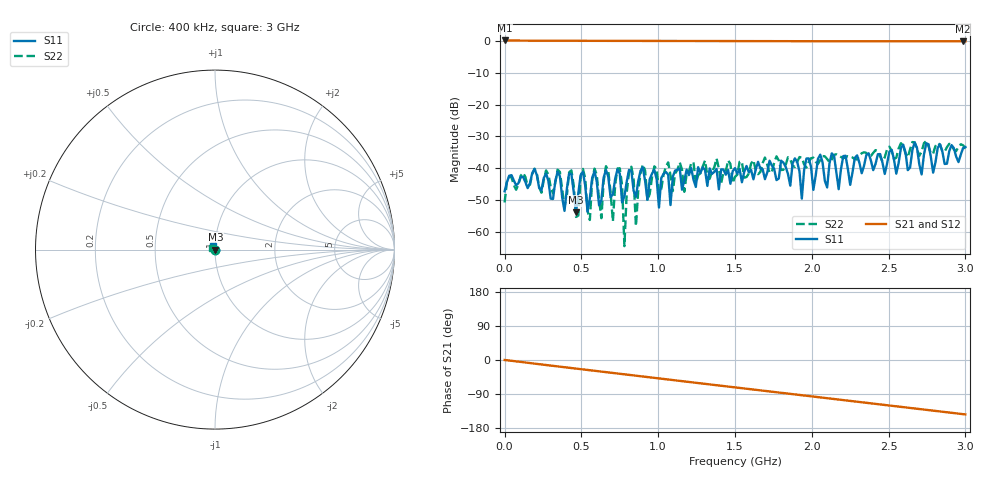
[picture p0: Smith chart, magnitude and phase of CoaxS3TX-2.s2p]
# Hz S DB R 50
! CMT, SC5090, 24087134, 25.3.3/4
! Date: 12.12.2025 15:33:01
! Data: Format (Calibration Info)
! Freq	S11:dB/Ang(F2)	S21:dB/Ang(F2)	S12:dB/Ang(F2)	S22:dB/Ang(F2)
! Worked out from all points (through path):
!   201 points, 400 kHz to 3 GHz, reference 50 ohm
!   highest |S21| = 0.11 dB at 400 kHz (marker M1); lowest = -0.1 dB at 2.985 GHz (marker M2)
!   group delay of S21, straight-line fit = 133 ps
!   lowest |S11| = -53.8 dB at 465.3 MHz (marker M3), VSWR 1.00, Z = 50.2 + j0.0265 ohm
!   |S11| at or under -10 dB: start of sweep to end of sweep
!   |S22| runs from -64.4 to -31.4 dB; largest |S21 - S12| = 0.0061
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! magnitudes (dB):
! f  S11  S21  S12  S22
! 400 kHz  -47.2  0.1  0.1  -50.7
! 345.4 MHz  -41.0  0.0  0.0  -40.4
! 390.3 MHz  -53.4  0.0  0.0  -52.0
! 435.3 MHz  -41.9  0.0  0.0  -40.7
! 465.3 MHz  -53.8  0.0  0.0  -55.3
! 510.3 MHz  -41.1  0.0  0.0  -40.2
! 555.3 MHz  -49.4  0.0  0.0  -56.2
! 585.3 MHz  -40.9  0.0  0.0  -40.1
! 630.3 MHz  -50.0  0.0  0.0  -55.7
! 660.3 MHz  -40.5  0.0  0.0  -39.3
! 705.3 MHz  -48.1  0.0  -0.1  -56.7
! 750.3 MHz  -41.7  0.0  -0.1  -40.0
! 780.3 MHz  -48.8  0.0  -0.1  -64.4
! 825.3 MHz  -40.8  0.0  -0.1  -39.5
! 855.3 MHz  -49.0  0.0  -0.1  -58.2
! 900.3 MHz  -39.7  0.0  -0.1  -38.8
! 1.005 GHz  -52.3  0.0  -0.1  -47.6
! 1.5 GHz  -39.9  -0.1  -0.1  -42.7
! 2.01 GHz  -46.8  -0.1  -0.1  -36.7
! 2.505 GHz  -34.8  -0.1  -0.1  -33.2
! 2.985 GHz  -33.6  -0.1  -0.2  -32.8
! 3 GHz  -33.3  -0.1  -0.2  -33.9
